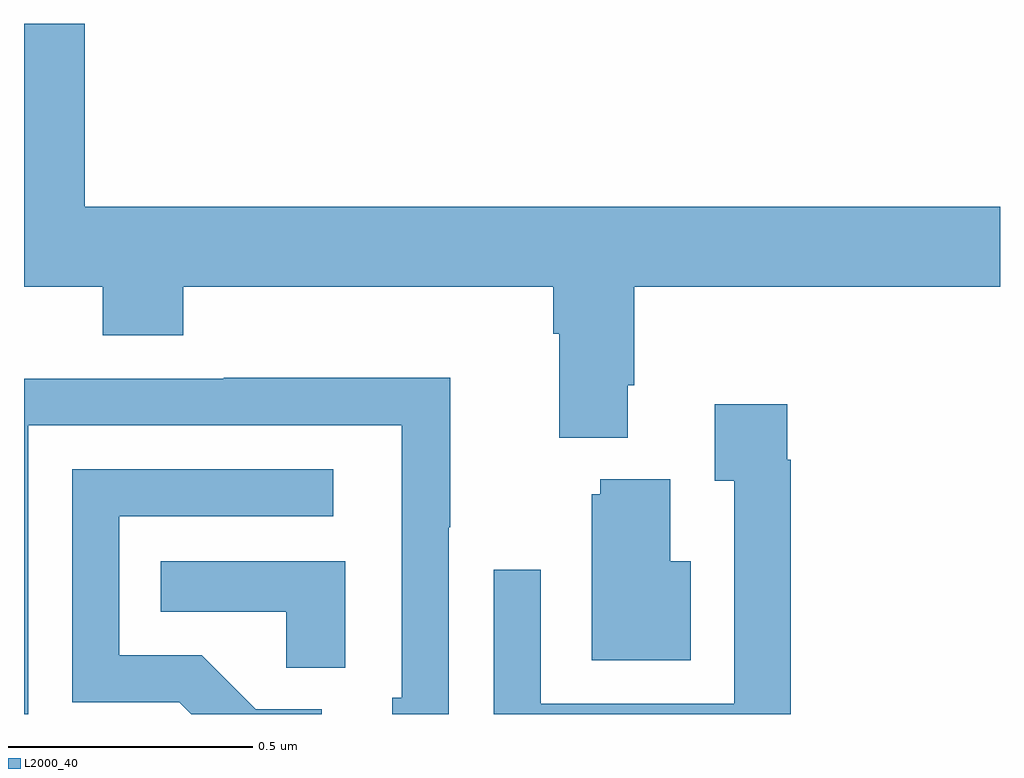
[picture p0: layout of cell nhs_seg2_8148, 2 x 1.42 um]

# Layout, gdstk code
import gdstk
lib = gdstk.Library(unit=1e-6, precision=1e-09)
def P(c, l, *ps):  # polygons
    for p in ps: c.add(gdstk.Polygon(p, *l))
L2000_40 = (2000, 40)

nhs_seg2_8148 = lib.new_cell('nhs_seg2_8148')
P(nhs_seg2_8148, L2000_40, [(214.237,607.474),(214.25,607.474),(214.25,607.676),(215,607.676),(215,607.84),(213.124,607.84),(213.124,608.215),(213,608.215),(213,607.676),(213.161,607.676),(213.161,607.577),(213.326,607.577),(213.326,607.676),(214.085,607.676),(214.085,607.58),(214.097,607.58),(214.097,607.367),(214.237,607.367)],
  [(213.009,607.392),(213.774,607.392),(213.774,606.834),(213.755,606.834),(213.755,606.8),(213.87,606.8),(213.87,607.183),(213.873,607.183),(213.873,607.49),(213.409,607.49),(213.409,607.488),(213,607.488),(213,606.8),(213.009,606.8)],
  [(214.571,607.322),(214.564,607.322),(214.564,607.435),(214.415,607.435),(214.415,607.279),(214.455,607.279),(214.455,606.822),(214.059,606.822),(214.059,607.096),(213.963,607.096),(213.963,606.8),(214.571,606.8)],
  [(213.61,606.81),(213.475,606.81),(213.364,606.921),(213.195,606.921),(213.195,607.206),(213.634,607.206),(213.634,607.302),(213.099,607.302),(213.099,606.825),(213.318,606.825),(213.343,606.8),(213.61,606.8)],
  [(214.366,607.114),(214.324,607.114),(214.324,607.282),(214.181,607.282),(214.181,607.251),(214.163,607.251),(214.163,606.911),(214.366,606.911)],
  [(213.658,607.114),(213.28,607.114),(213.28,607.01),(213.537,607.01),(213.537,606.895),(213.658,606.895)])

lib.write_gds('nhs_seg2_8148.gds')
